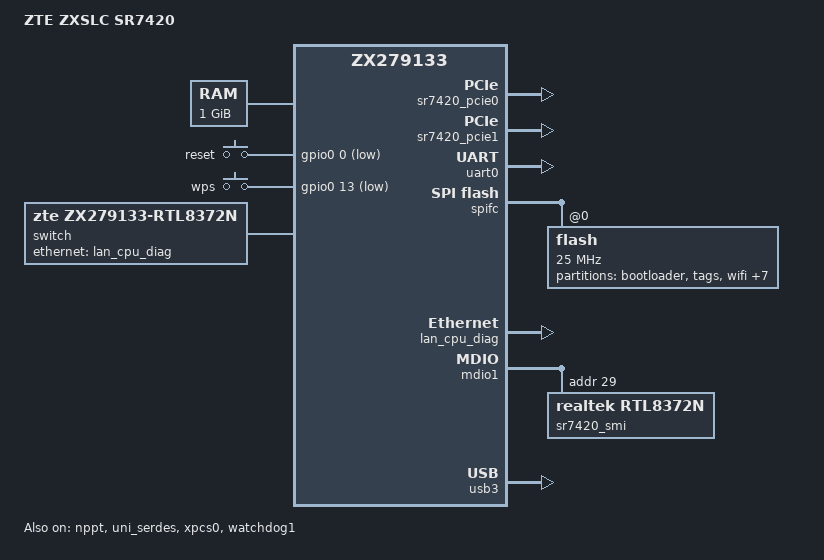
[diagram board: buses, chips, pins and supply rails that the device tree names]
// SPDX-License-Identifier: GPL-2.0-only OR BSD-2-Clause
/dts-v1/;

#include <dt-bindings/gpio/gpio.h>
#include <dt-bindings/input/input.h>
#include "zte/zx279133.dtsi"

/* Initial serial-console/RAM-root board, derived from SR7420 stock evidence. */
/ {
	model = "ZTE ZXSLC SR7420";
	compatible = "zte,zx279133-sr7420", "zte,zx279133";

	aliases {
		serial0 = &uart0;
	};

	chosen {
		stdout-path = "serial0:115200n8";
	};

	memory@80000000 {
		device_type = "memory";
		reg = <0x0 0x80000000 0x0 0x40000000>;
	};

	gpio-keys {
		compatible = "gpio-keys";

		button-reset {
			label = "reset";
			gpios = <&gpio0 0 GPIO_ACTIVE_LOW>;
			linux,code = <KEY_RESTART>;
			debounce-interval = <50>;
		};

		button-wps {
			label = "wps";
			gpios = <&gpio0 13 GPIO_ACTIVE_LOW>;
			linux,code = <KEY_WPS_BUTTON>;
			debounce-interval = <50>;
		};
	};
};

/* Vendor OPP/voltage tables have not been validated on this board. */
&{/cpus/cpu@0} {
	/delete-property/ operating-points-v2;
	/delete-property/ cpu-supply;
};

&{/cpus/cpu@1} {
	/delete-property/ operating-points-v2;
	/delete-property/ cpu-supply;
};

&{/soc} {
	/delete-node/ regulator-cpu;
};

&uart0 {
	status = "okay";
};

/* Own map replaces the SR1010 partitions supplied by the common DTSI. */
&spifc {
	status = "okay";
	spi-max-frequency = <25000000>;

	flash@0 {
		spi-max-frequency = <25000000>;
		partitions-only;
		/delete-node/ partitions;

		partitions {
			compatible = "fixed-partitions";
			#address-cells = <1>;
			#size-cells = <1>;

			partition@0 {
				label = "bootloader";
				reg = <0x00000000 0x00100000>;
				read-only;
			};

			partition@100000 {
				label = "tags";
				reg = <0x00100000 0x00100000>;
				read-only;
			};

			partition@200000 {
				label = "wifi";
				reg = <0x00200000 0x00200000>;
				read-only;
			};

			partition@400000 {
				label = "usercfg";
				reg = <0x00400000 0x00200000>;
				read-only;
			};

			partition@600000 {
				label = "defcfg";
				reg = <0x00600000 0x00200000>;
				read-only;
			};

			partition@800000 {
				label = "firmware-slot1";
				reg = <0x00800000 0x05000000>;
				read-only;
			};

			partition@5800000 {
				label = "firmware-slot2";
				reg = <0x05800000 0x05000000>;
				read-only;
			};

			partition@b500000 {
				label = "DPIPlugin";
				reg = <0x0b500000 0x00300000>;
				read-only;
			};

			partition@ba00000 {
				label = "status";
				reg = <0x0ba00000 0x00500000>;
				read-only;
			};

			partition@c000000 {
				label = "Plugin";
				reg = <0x0c000000 0x04000000>;
				read-only;
			};
		};
	};
};

/* RAM diagnostic resource draft; NPPT remains disabled. */
/ {
	reserved-memory {
		#address-cells = <2>;
		#size-cells = <2>;
		ranges;
		stock-low@aa400000 {
			reg = <0 0xaa400000 0 0x1600000>;
			no-map;
		};
		sr7420_idm: idm@aba00000 {
			reg = <0 0xaba00000 0 0xa00000>;
			no-map;
		};
		sr7420_se_hash: se-hash@ac400000 {
			reg = <0 0xac400000 0 0x8000000>;
			no-map;
		};
		sr7420_bmu: bmu-dma@b4400000 {
			reg = <0 0xb4400000 0 0xecc000>;
			no-map;
		};
		bmu-spare@b52cc000 {
			reg = <0 0xb52cc000 0 0x24000>;
			no-map;
		};
		ramlog@b52f0000 {
			reg = <0 0xb52f0000 0 0x10000>;
			no-map;
		};
		stock-wifi-woe@b5300000 {
			reg = <0 0xb5300000 0 0xad00000>;
			no-map;
		};
	};
};

&nppt {
	zte,lan-only;
	memory-region = <&sr7420_bmu>, <&sr7420_se_hash>, <&sr7420_idm>;
	memory-region-names = "bmu", "se-hash", "idm";
	status = "disabled";
};

&nppt {
 status = "okay";
 local-mac-address = [02 74 20 00 00 01];
 lan_cpu_diag: ethernet-lan-cpu {
  compatible = "zte,zx279133-lan-conduit";
 };
 switch {
  compatible = "zte,zx279133-rtl8372n";
  zte,mdio-handle = <&sr7420_smi>;
  zte,sr7420-warm-switch;
  ports {
   #address-cells = <1>;
   #size-cells = <0>;
   port@4 { reg = <4>; label = "lan1"; phy-mode = "internal"; };
   port@5 { reg = <5>; label = "lan2"; phy-mode = "internal"; };
   port@6 { reg = <6>; label = "lan3"; phy-mode = "internal"; };
   port@7 { reg = <7>; label = "lan4"; phy-mode = "internal"; };
   port@8 {
    reg = <8>;
    ethernet = <&lan_cpu_diag>;
    phy-mode = "10gbase-r";
    fixed-link { speed = <10000>; full-duplex; };
   };
  };
 };
};
&mdio1 {
 status = "okay";
 sr7420_smi: switch-controller@1d {
  compatible = "realtek,rtl8372n";
  reg = <0x1d>;
 };
};
&uni_serdes { status = "okay"; };
&xpcs0 { status = "okay"; };
&watchdog1 { status = "okay"; };
&{/chosen} { sr7420-ramlog-attempt = "wifi-20261116-05"; };

/* SR1010 CPU PWM pinmux conflicts with the verified SR7420 WPS GPIO. */
&pwm { status = "disabled"; };

/* RAM-only USB root-hub probe; no automount. */
&usb3 { status = "okay"; };

#include "zte/zx279133-sr7420-ledboard.dtsi"

/* RAM-only: require the OEM to have brought up both links. */
/ {
 soc {
  sr7420_pcie0: pcie@15200000 {
   compatible = "zte,zx279133-pcie-warm-ramdiag";
   device_type = "pci";
   #address-cells = <3>;
   #size-cells = <2>;
   #interrupt-cells = <1>;
   reg = <0 0x15200000 0 0x2000>, <0 0x1f000000 0 0x400000>,
         <0 0x2f800000 0 0x1000>;
   reg-names = "csr", "dbi", "config";
   linux,pci-domain = <0>;
   bus-range = <0 1>;
   ranges = <0x02000000 0 0x20000000 0 0x20000000 0 0xf000000>;
   dma-ranges = <0x42000000 0 0x80000000 0 0x80000000 0 0x40000000>;
   dma-coherent;
   interrupt-parent = <&gic>;
   msi-controller;
   #msi-cells = <0>;
   msi-parent = <&sr7420_pcie0>;
   interrupt-map-mask = <0 0 0 7>;
   interrupt-map = <0 0 0 1 &gic 0 0 0 113 4>,
                   <0 0 0 2 &gic 0 0 0 112 4>,
                   <0 0 0 3 &gic 0 0 0 111 4>,
                   <0 0 0 4 &gic 0 0 0 110 4>;
   zte,msi-spi-base = <67>;
   zte,msi-message-address = <0 0x10e00000>;
   status = "okay";
   pcie0_rp@0 {
    reg = <0 0 0 0 0>;
    #address-cells = <3>;
    #size-cells = <2>;
    radio@0 {
     reg = <0 0 0 0 0>;
     qcom,ath12k-calibration-variant = "zte-sr7420-5g";
    };
   };
  };
  sr7420_pcie1: pcie@15202000 {
   compatible = "zte,zx279133-pcie-warm-ramdiag";
   device_type = "pci";
   #address-cells = <3>;
   #size-cells = <2>;
   #interrupt-cells = <1>;
   reg = <0 0x15202000 0 0x2000>, <0 0x1f400000 0 0x400000>,
         <0 0x3f800000 0 0x1000>;
   reg-names = "csr", "dbi", "config";
   linux,pci-domain = <1>;
   bus-range = <0 1>;
   ranges = <0x02000000 0 0x30000000 0 0x30000000 0 0xf000000>;
   dma-ranges = <0x42000000 0 0x80000000 0 0x80000000 0 0x40000000>;
   dma-coherent;
   interrupt-parent = <&gic>;
   msi-controller;
   #msi-cells = <0>;
   msi-parent = <&sr7420_pcie1>;
   interrupt-map-mask = <0 0 0 7>;
   interrupt-map = <0 0 0 1 &gic 0 0 0 164 4>,
                   <0 0 0 2 &gic 0 0 0 163 4>,
                   <0 0 0 3 &gic 0 0 0 162 4>,
                   <0 0 0 4 &gic 0 0 0 161 4>;
   zte,msi-spi-base = <118>;
   zte,msi-message-address = <0 0x10e00004>;
   status = "okay";
   pcie1_rp@0 {
    reg = <0 0 0 0 0>;
    #address-cells = <3>;
    #size-cells = <2>;
    radio@0 {
     reg = <0 0 0 0 0>;
     qcom,ath12k-calibration-variant = "zte-sr7420-2g";
    };
   };
  };
 };
};


/* Preserve the validated 128 MiB CMA window below stock reserved memory. */
&{/reserved-memory} {
 linux,cma {
  compatible = "shared-dma-pool";
  reusable;
  size = <0 0x08000000>;
  alignment = <0 0x00400000>;
  alloc-ranges = <0 0x80000000 0 0x2a400000>;
  linux,cma-default;
 };
};
